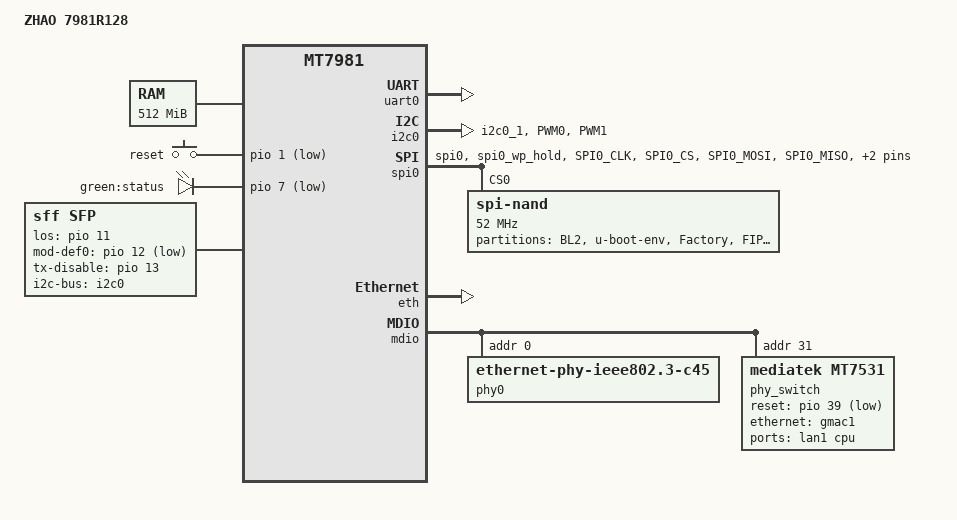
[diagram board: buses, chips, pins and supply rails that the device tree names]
/dts-v1/;

#include <dt-bindings/gpio/gpio.h>
#include <dt-bindings/input/input.h>
#include <dt-bindings/leds/common.h>
#include <dt-bindings/pinctrl/mt65xx.h>
#include "mt7981b.dtsi"

/ {
	model = "ZHAO 7981R128";
	compatible = "zhao,7981r128", "mediatek,mt7981";

	aliases {
		serial0 = &uart0;
		label-mac-device = &gmac0;
		led-boot = &led_green;
		led-failsafe = &led_green;
		led-running = &led_green;
		led-upgrade = &led_green;
	};

	chosen {
		bootargs = "console=ttyS0,115200 loglevel=8 earlycon";
	};

	memory@40000000 {
		device_type = "memory";
		reg = <0 0x40000000 0 0x20000000>; /* 512MB RAM */
	};

	gpio-keys {
		compatible = "gpio-keys";

		reset {
			label = "reset";
			gpios = <&pio 1 GPIO_ACTIVE_LOW>;
			linux,code = <KEY_RESTART>;
		};
	};

	leds {
		compatible = "gpio-leds";

		led_green: green {
			label = "green:status";
			gpios = <&pio 7 GPIO_ACTIVE_LOW>;
			default-state = "on";
		};
	};

	sfp: sfp {
		compatible = "sff,sfp";
		i2c-bus = <&i2c0>;
		los-gpios = <&pio 11 GPIO_ACTIVE_HIGH>;
		mod-def0-gpios = <&pio 12 GPIO_ACTIVE_LOW>;
		tx-disable-gpios = <&pio 13 GPIO_ACTIVE_HIGH>;
	};
};

&uart0 {
	status = "okay";
};

&i2c0 {
	pinctrl-names = "default";
	pinctrl-0 = <&i2c_sfp_pins>;
	status = "okay";
};

&pwm {
	/* PWM0/PWM1 已严格复用给 SFP I2C，禁用 pwm 节点消除 pinctrl 错误 */
	status = "disabled";
};

&pio {
	i2c_sfp_pins: i2c-sfp-pins {
		mux {
			function = "i2c";
			groups = "i2c0_1";
		};
		conf {
			pins = "PWM0", "PWM1";
			drive-strength = <MTK_DRIVE_8mA>;
			bias-pull-up = <MTK_PUPD_SET_R1R0_11>;
		};
	};

	spi0_flash_pins: spi0-flash-pins {
		mux {
			function = "spi";
			groups = "spi0", "spi0_wp_hold";
		};
		conf {
			pins = "SPI0_CLK", "SPI0_CS", "SPI0_MOSI", "SPI0_MISO", "SPI0_WP", "SPI0_HOLD";
			drive-strength = <MTK_DRIVE_8mA>;
		};
	};
};

&spi0 {
	pinctrl-names = "default";
	pinctrl-0 = <&spi0_flash_pins>;
	status = "okay";

	spi-nand@0 {
		compatible = "spi-nand";
		reg = <0>;
		spi-max-frequency = <52000000>;

		partitions {
			compatible = "fixed-partitions";
			#address-cells = <1>;
			#size-cells = <1>;

			partition@0 {
				label = "BL2";
				reg = <0x00000000 0x00100000>;
			};

			partition@100000 {
				label = "u-boot-env";
				reg = <0x00100000 0x00080000>;
			};

			partition@180000 {
				label = "Factory";
				reg = <0x00180000 0x00200000>;
			};

			partition@380000 {
				label = "FIP";
				reg = <0x00380000 0x00200000>;
			};

			partition@580000 {
				label = "ubi";
				reg = <0x00580000 0x07200000>;
			};
		};
	};
};

&eth {
	status = "okay";

	gmac0: mac@0 {
		compatible = "mediatek,eth-mac";
		reg = <0>;
		phy-mode = "2500base-x";
		phy-handle = <&phy0>;

		nvmem-cells = <&macaddr_factory_4>;
		nvmem-cell-names = "mac-address";
	};

	gmac1: mac@1 {
		compatible = "mediatek,eth-mac";
		reg = <1>;
		phy-mode = "sgmii";
		phy-handle = <&phy_switch>;

		nvmem-cells = <&macaddr_factory_4>;
		nvmem-cell-names = "mac-address";
		mac-address-increment = <1>;
	};
};

&mdio {
	phy0: ethernet-phy@0 {
		compatible = "ethernet-phy-ieee802.3-c45";
		reg = <0>;
	};

	phy_switch: switch@1f {
		compatible = "mediatek,mt7531";
		reg = <0x1f>;
		reset-gpios = <&pio 39 GPIO_ACTIVE_LOW>;

		ports {
			#address-cells = <1>;
			#size-cells = <1>;

			port@0 {
				reg = <0>;
				label = "lan1";
			};

			port@6 {
				reg = <6>;
				label = "cpu";
				ethernet = <&gmac1>;
				phy-mode = "sgmii";
			};
		};
	};
};

&factory {
	compatible = "nvmem-cells";
	#address-cells = <1>;
	#size-cells = <1>;

	macaddr_factory_4: macaddr@4 {
		reg = <0x4 0x6>;
	};
};
